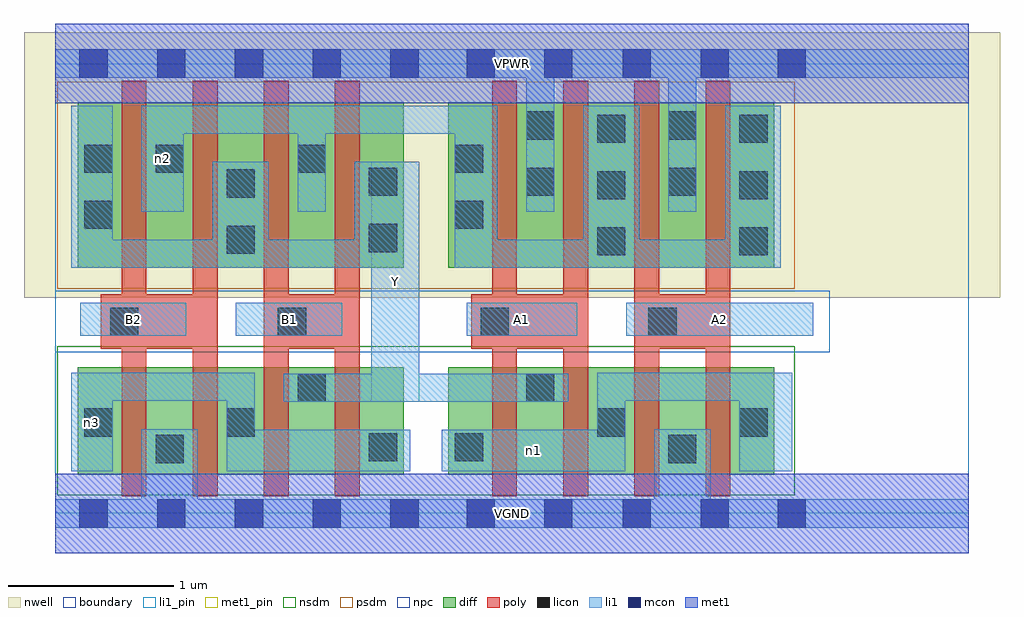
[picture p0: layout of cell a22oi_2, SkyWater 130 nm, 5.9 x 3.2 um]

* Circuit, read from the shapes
.subckt a22oi_2 A1 A2 B1 B2 VGND VPWR Y n1 n2 n3
XM1 VGND B2 n3 VSUBS sky130_fd_pr__nfet_01v8 w=0.65 l=0.15 m=2
XM2 Y B1 n3 VSUBS sky130_fd_pr__nfet_01v8 w=0.65 l=0.15 m=2
XM3 Y A1 n1 VSUBS sky130_fd_pr__nfet_01v8 w=0.65 l=0.15 m=2
XM4 VGND A2 n1 VSUBS sky130_fd_pr__nfet_01v8 w=0.65 l=0.15 m=2
XM5 n2 B2 Y n4 sky130_fd_pr__pfet_01v8 w=1 l=0.15 m=2
XM6 n2 B1 Y n4 sky130_fd_pr__pfet_01v8 w=1 l=0.15 m=2
XM7 VPWR A1 n2 n4 sky130_fd_pr__pfet_01v8 w=1 l=0.15 m=2
XM8 VPWR A2 n2 n4 sky130_fd_pr__pfet_01v8 w=1 l=0.15 m=2
.ends

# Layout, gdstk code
import gdstk
lib = gdstk.Library(unit=1e-6, precision=1e-09)
def R(c, l, rs):  # rectangles x0, y0, x1, y1
    for r in rs: c.add(gdstk.rectangle(r[:2], r[2:], *l))
def A(c, l, x, y, w, h, nx, ny, dx, dy):  # array of equal rectangles
    R(c, l, [(x+i*dx, y+j*dy, x+i*dx+w, y+j*dy+h) for i in range(nx) for j in range(ny)])
nwell = (64, 20)
diff = (65, 20)
poly = (66, 20)
licon = (66, 44)
li1_pin = (67, 16)
li1 = (67, 20)
mcon = (67, 44)
met1_pin = (68, 16)
met1 = (68, 20)
nsdm = (93, 44)
psdm = (94, 20)
npc = (95, 20)
boundary = (235, 4)

a22oi_2 = lib.new_cell('a22oi_2')
R(a22oi_2, nwell, [(-0.19,1.305,5.71,2.91), (0,1.305,5.52,2.91)])
R(a22oi_2, diff, [(0.135,0.235,2.105,0.885), (2.375,0.235,4.345,0.885), (0.135,1.485,2.105,2.485), (2.375,1.485,4.345,2.485)])
A(a22oi_2, poly, 0.4, 0.105, 0.15, 2.51, 4, 1, 0.43, 0)
A(a22oi_2, poly, 2.64, 0.105, 0.15, 2.51, 4, 1, 0.43, 0)
R(a22oi_2, poly, [(0.275,0.995,0.98,1.325), (1.26,0.995,1.84,1.325), (2.515,0.995,3.22,1.325), (3.5,0.995,4.08,1.325)])
A(a22oi_2, licon, 3.275, 1.56, 0.17, 0.17, 1, 3, 0, 0.34)
A(a22oi_2, licon, 4.135, 1.56, 0.17, 0.17, 1, 3, 0, 0.34)
R(a22oi_2, licon, [(0.605,0.305,0.775,0.475), (3.705,0.305,3.875,0.475), (1.895,0.315,2.065,0.485), (2.415,0.315,2.585,0.485), (0.175,0.465,0.345,0.635), (1.035,0.465,1.205,0.635), (3.275,0.465,3.445,0.635), (4.135,0.465,4.305,0.635), (1.465,0.675,1.635,0.845), (2.845,0.675,3.015,0.845), (0.33,1.075,0.5,1.245), (1.345,1.075,1.515,1.245), (2.57,1.075,2.74,1.245), (3.585,1.075,3.755,1.245), (1.035,1.57,1.205,1.74), (1.895,1.58,2.065,1.75), (0.175,1.72,0.345,1.89), (2.415,1.72,2.585,1.89), (1.035,1.91,1.205,2.08), (1.895,1.92,2.065,2.09), (2.845,1.92,3.015,2.09), (3.705,1.92,3.875,2.09), (0.175,2.06,0.345,2.23), (0.605,2.06,0.775,2.23), (1.465,2.06,1.635,2.23), (2.415,2.06,2.585,2.23), (2.845,2.26,3.015,2.43), (3.705,2.26,3.875,2.43)])
R(a22oi_2, li1_pin, [(1.91,0.675,2.2,2.125), (0.15,1.075,0.79,1.275), (1.09,1.075,1.735,1.275), (2.485,1.075,3.155,1.275), (3.45,1.075,4.58,1.275)])
R(a22oi_2, li1, [(0,-0.085,5.52,0.085), (0.52,-0.085,0.86,0.51), (3.62,-0.085,3.96,0.51), (0.095,0.255,0.345,0.85), (1.035,0.255,2.145,0.505), (1.035,0.255,1.205,0.85), (2.335,0.255,3.445,0.505), (3.275,0.255,3.445,0.85), (4.135,0.255,4.455,0.85), (1.38,0.675,3.1,0.845), (1.91,0.675,2.2,2.125), (0.095,0.68,1.205,0.85), (3.275,0.68,4.455,0.85), (0.15,1.075,0.79,1.275), (1.09,1.075,1.735,1.275), (2.485,1.075,3.155,1.275), (3.45,1.075,4.58,1.275), (0.095,1.485,2.2,1.655), (0.095,1.485,0.345,2.465), (0.95,1.485,1.29,2.125), (1.81,1.485,2.2,2.125), (2.415,1.485,4.385,1.655), (2.415,1.485,2.67,2.465), (3.19,1.485,3.53,2.465), (4.05,1.485,4.385,2.465), (0.52,1.825,0.775,2.465), (1.465,1.825,1.635,2.465), (2.845,1.825,3.015,2.805), (3.705,1.825,3.875,2.805), (0.52,2.295,2.67,2.465), (0,2.635,5.52,2.805)])
A(a22oi_2, mcon, 0.145, -0.085, 0.17, 0.17, 5, 2, 0.47, 2.72)
R(a22oi_2, mcon, [(2.485,-0.085,2.655,0.085), (2.955,-0.085,3.125,0.085), (3.43,-0.085,3.6,0.085), (3.9,-0.085,4.07,0.085), (4.365,-0.085,4.535,0.085), (2.485,2.635,2.655,2.805), (2.955,2.635,3.125,2.805), (3.43,2.635,3.6,2.805), (3.9,2.635,4.07,2.805), (4.365,2.635,4.535,2.805)])
R(a22oi_2, met1_pin, [(0,-0.24,5.52,0.24), (0,2.48,5.52,2.96)])
R(a22oi_2, met1, [(0,-0.24,5.52,0.24), (0,2.48,5.52,2.96)])
R(a22oi_2, nsdm, [(0.01,0.11,4.47,1.01)])
R(a22oi_2, psdm, [(0.01,1.36,4.47,2.61)])
R(a22oi_2, npc, [(0,0.975,4.68,1.345)])
R(a22oi_2, boundary, [(0,0,5.52,2.72)])
a22oi_2.add(gdstk.Label('A1', (2.82,1.175), layer=67, texttype=5))
a22oi_2.add(gdstk.Label('A2', (4.015,1.175), layer=67, texttype=5))
a22oi_2.add(gdstk.Label('B1', (1.412,1.175), layer=67, texttype=5))
a22oi_2.add(gdstk.Label('B2', (0.47,1.175), layer=67, texttype=5))
a22oi_2.add(gdstk.Label('Y', (2.055,1.4), layer=67, texttype=5))
a22oi_2.add(gdstk.Label('n3', (0.22,0.552), layer=67, texttype=5))
a22oi_2.add(gdstk.Label('n1', (2.89,0.38), layer=67, texttype=5))
a22oi_2.add(gdstk.Label('n2', (0.647,2.145), layer=67, texttype=5))
a22oi_2.add(gdstk.Label('VPWR', (2.76,2.72), layer=68, texttype=5))
a22oi_2.add(gdstk.Label('VGND', (2.76,0), layer=68, texttype=5))
a22oi_2.add(gdstk.Label('A1', (2.82,1.175), layer=67, texttype=16))
a22oi_2.add(gdstk.Label('A2', (4.015,1.175), layer=67, texttype=16))
a22oi_2.add(gdstk.Label('B1', (1.412,1.175), layer=67, texttype=16))
a22oi_2.add(gdstk.Label('B2', (0.47,1.175), layer=67, texttype=16))
a22oi_2.add(gdstk.Label('Y', (2.055,1.4), layer=67, texttype=16))
a22oi_2.add(gdstk.Label('VPWR', (2.76,2.72), layer=68, texttype=16))
a22oi_2.add(gdstk.Label('VGND', (2.76,0), layer=68, texttype=16))

lib.write_gds('a22oi_2.gds')
